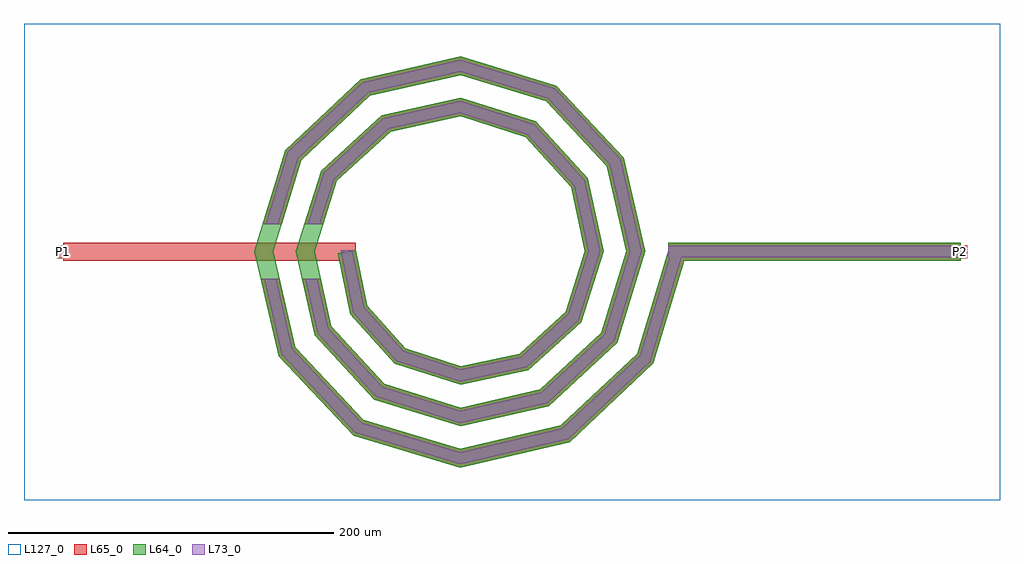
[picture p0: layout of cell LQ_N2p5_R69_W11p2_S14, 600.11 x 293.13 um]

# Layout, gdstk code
import gdstk
lib = gdstk.Library(unit=1e-6, precision=1e-09)
def R(c, l, rs):  # rectangles x0, y0, x1, y1
    for r in rs: c.add(gdstk.rectangle(r[:2], r[2:], *l))
def P(c, l, *ps):  # polygons
    for p in ps: c.add(gdstk.Polygon(p, *l))
L64_0 = (64, 0)
L65_0 = (65, 0)
L73_0 = (73, 0)
L127_0 = (127, 0)

lq_n2p5_r69_w11p2_s14 = lib.new_cell('LQ_N2p5_R69_W11p2_S14')
R(lq_n2p5_r69_w11p2_s14, L64_0, [(127.916,-5.6,307.916,5.6)])
P(lq_n2p5_r69_w11p2_s14, L64_0, [(-57.108,-33.34),(-33.857,-59.262),(0.301,-70.374),(36.503,-62.638),(64.767,-37.064),(76.746,0.278),(68.167,39.67),(40.267,70.275),(0.258,83.117),(-42.839,73.695),(-75.784,43.469),(-89.489,0.241),(-79.221,-46.011),(-46.669,-81.294),(0.226,-95.861),(49.184,-84.747),(86.805,-49.867),(102.233,0.213),(90.271,52.359),(53.063,92.317),(0.201,108.605),(-55.535,95.795),(-97.83,56.259),(-114.977,0.19),(-101.319,-58.712),(-59.453,-103.344),(0.181,-121.349),(61.89,-106.842),(108.858,-62.647),(128.153,1.611),(138.88,-1.611),(118.72,-68.745),(67.378,-117.057),(0.181,-132.939),(-65.567,-113.197),(-111.543,-64.184),(-126.566,0.19),(-107.673,62.389),(-60.988,106.029),(0.201,120.194),(59.212,102.149),(100.516,57.792),(113.821,0.213),(96.624,-56.036),(54.595,-95.003),(0.226,-107.448),(-52.862,-91.098),(-89.491,-51.396),(-101.075,0.241),(-85.571,49.689),(-48.195,83.98),(0.258,94.702),(46.518,80.043),(78.471,44.992),(88.329,0.278),(74.513,-43.35),(41.786,-72.962),(0.301,-81.956),(-40.184,-68.981),(-67.456,-38.577),(-75.274,-1.145),(-64.311,1.145)])
R(lq_n2p5_r69_w11p2_s14, L65_0, [(-244.193,-5.6,-64.193,5.6), (127.916,-5.6,307.916,5.6), (-248.193,-4,-240.193,4), (303.916,-4,311.916,4)])
P(lq_n2p5_r69_w11p2_s14, L65_0, [(-101.319,-58.712),(-59.453,-103.344),(0.181,-121.349),(61.89,-106.842),(108.858,-62.647),(128.153,1.611),(138.88,-1.611),(118.72,-68.745),(67.378,-117.057),(0.181,-132.939),(-65.567,-113.197),(-111.543,-64.183),(-122.601,-16.8),(-111.1,-16.8)],
  [(-79.221,-46.011),(-46.669,-81.294),(0.226,-95.861),(49.184,-84.747),(86.805,-49.867),(102.233,0.213),(90.271,52.359),(53.063,92.317),(0.201,108.605),(-55.535,95.795),(-97.83,56.259),(-109.816,16.8),(-121.521,16.8),(-107.673,62.389),(-60.988,106.029),(0.201,120.194),(59.212,102.149),(100.516,57.792),(113.821,0.213),(96.624,-56.036),(54.595,-95.003),(0.226,-107.448),(-52.862,-91.098),(-89.491,-51.396),(-97.253,-16.8),(-85.774,-16.8)],
  [(-33.857,-59.262),(0.301,-70.374),(36.503,-62.638),(64.767,-37.064),(76.746,0.278),(68.167,39.67),(40.268,70.275),(0.258,83.117),(-42.839,73.695),(-75.784,43.469),(-84.146,16.8),(-95.883,16.8),(-85.571,49.689),(-48.195,83.981),(0.258,94.702),(46.518,80.043),(78.471,44.992),(88.329,0.278),(74.513,-43.35),(41.786,-72.962),(0.301,-81.956),(-40.184,-68.981),(-67.456,-38.577),(-75.274,-1.145),(-64.311,1.145),(-57.108,-33.34)])
R(lq_n2p5_r69_w11p2_s14, L73_0, [(127.916,-3.6,307.916,3.6)])
P(lq_n2p5_r69_w11p2_s14, L73_0, [(-103.145,-59.689),(-60.545,-105.103),(0.116,-123.419),(62.87,-108.666),(110.619,-63.736),(130.068,1.035),(136.964,-1.035),(116.959,-67.656),(66.398,-115.233),(0.116,-130.869),(-64.475,-111.438),(-109.717,-63.207),(-120.548,-16.8),(-113.154,-16.8)],
  [(-81.055,-46.972),(-47.775,-83.045),(0.145,-97.93),(50.15,-86.578),(88.558,-50.968),(104.302,0.137),(92.101,53.329),(54.161,94.073),(0.129,110.674),(-56.509,97.623),(-99.588,57.353),(-111.906,16.8),(-119.431,16.8),(-105.916,61.294),(-60.015,104.202),(0.129,118.124),(58.114,100.393),(98.687,56.822),(111.752,0.137),(94.871,-54.935),(53.628,-93.172),(0.145,-105.379),(-51.756,-89.347),(-87.657,-50.434),(-95.203,-16.8),(-87.824,-16.8)],
  [(-34.987,-60.997),(0.194,-72.442),(37.446,-64.482),(66.507,-38.186),(78.814,0.179),(70.007,40.62),(41.384,72.019),(0.166,85.186),(-43.795,75.532),(-77.531,44.58),(-86.242,16.8),(-93.787,16.8),(-83.823,48.578),(-47.239,82.144),(0.166,92.634),(45.402,78.298),(76.631,44.042),(86.261,0.179),(72.773,-42.227),(40.843,-71.119),(0.194,-79.888),(-39.054,-67.245),(-65.608,-37.642),(-73.317,0.736),(-66.269,0.736),(-58.956,-34.275)])
R(lq_n2p5_r69_w11p2_s14, L127_0, [(-268.193,-152.939,331.916,140.194)])
lq_n2p5_r69_w11p2_s14.add(gdstk.Label('P2', (307.916,0), layer=65, texttype=0))
lq_n2p5_r69_w11p2_s14.add(gdstk.Label('P1', (-244.193,0), layer=65, texttype=0))
lq_n2p5_r69_w11p2_s14.add(gdstk.Label('P2', (311.916,0), layer=145, texttype=0))
lq_n2p5_r69_w11p2_s14.add(gdstk.Label('P1', (-248.193,0), layer=145, texttype=0))

lib.write_gds('LQ_N2p5_R69_W11p2_S14.gds')
